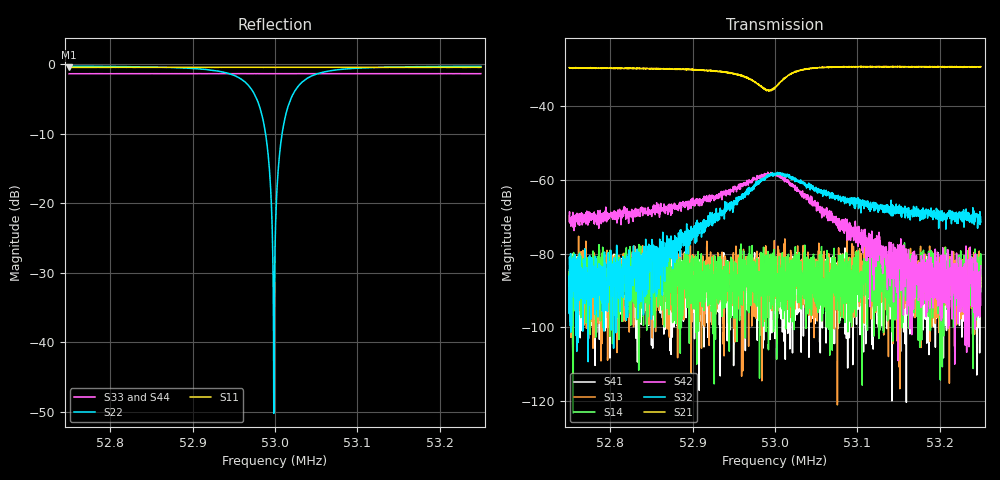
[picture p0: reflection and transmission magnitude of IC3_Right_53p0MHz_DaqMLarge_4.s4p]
#  HZ  S  DB  R  50.00
! Rohde & Schwarz Vector Network Analyzer
! Rohde-Schwarz,ZNB8-4Port,1311601044102961,2.82
! Created: UTC 2/12/2019, 2:11:07 PM
! freq[Hz]  db:S11  ang:S11  db:S12  ang:S12  db:S13  ang:S13  db:S14  ang:S14
!  db:S21  ang:S21  db:S22  ang:S22  db:S23  ang:S23  db:S24  ang:S24
!  db:S31  ang:S31  db:S32  ang:S32  db:S33  ang:S33  db:S34  ang:S34
!  db:S41  ang:S41  db:S42  ang:S42  db:S43  ang:S43  db:S44  ang:S44
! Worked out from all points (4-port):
!   2001 points, 52.75 MHz to 53.25 MHz, reference 50 ohm
!   strongest paths, dB at 52.75 MHz, 52.875 MHz, 53 MHz, 53.125 MHz, 53.25 MHz:
!     S21: -29.5, -29.8, -35.0, -29.3, -29.2
!     S32: -86.1, -81.4, -58.3, -67.4, -71.4
!     S42: -71.3, -67.4, -58.5, -78.7, -83.3
!     S14: -85.4, -91.6, -82.5, -88.0, -90.3
!     S13: -84.9, -84.4, -92.2, -83.7, -88.9
!     S41: -85.0, -81.0, -103.0, -89.5, -88.7
!   lowest |S11| = -0.5 dB at 52.75 MHz (marker M1), VSWR 34.77, Z = 1.52 + j12.1 ohm
!   |S11| at or under -10 dB: nowhere
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5.275e7  -0.50 152.8  -29.57 131.2  -84.88 -147.0  -85.38 -159.9
         -29.48 131.4  -0.33 -68.7  -96.01 163.7  -69.61 -89.5
         -102.26 -45.2  -86.10 -18.4  -1.41 62.2  -112.43 142.8
         -85.02 150.6  -71.28 -102.7  -84.25 -51.8  -1.44 68.8
5.296575e7  -0.49 148.3  -32.26 112.4  -82.30 163.2  -87.76 46.2
            -32.06 113.2  -2.83 -114.3  -64.60 29.2  -60.86 -134.0
            -94.20 -30.4  -62.56 36.3  -1.40 59.6  -90.38 136.3
            -86.58 -14.9  -60.49 -128.8  -77.79 110.3  -1.43 66.2
5.298875e7  -0.49 147.8  -35.49 124.7  -77.82 141.1  -86.92 130.1
            -35.40 125.2  -10.22 -145.0  -59.76 6.6  -58.28 -163.6
            -91.11 -36.1  -59.39 8.2  -1.40 59.3  -85.97 6.1
            -87.94 -177.1  -58.45 -160.6  -84.94 -177.6  -1.43 65.9
5.29985e7  -0.49 147.6  -35.08 143.0  -83.53 128.0  -99.32 76.6
           -35.16 143.9  -50.22 -165.2  -58.18 -13.2  -58.12 -178.7
           -86.26 -49.3  -58.30 -13.0  -1.40 59.2  -92.33 91.7
           -89.59 -167.5  -58.45 -177.5  -92.24 89.2  -1.43 65.8
5.30085e7  -0.49 147.4  -32.93 153.0  -91.30 87.2  -94.97 -0.3
           -33.06 152.6  -10.11 -3.3  -58.70 -30.1  -59.15 158.4
           -84.88 118.7  -58.34 -30.4  -1.40 59.1  -87.47 -43.9
           -93.89 -56.9  -59.33 161.0  -89.29 9.5  -1.43 65.7
5.303125e7  -0.49 146.9  -30.16 146.1  -83.73 144.2  -82.15 -14.7
            -30.18 145.9  -2.80 -34.1  -60.83 -59.8  -62.58 135.6
            -82.05 84.8  -60.23 -62.5  -1.40 58.8  -80.40 80.8
            -85.16 -168.1  -64.06 124.4  -91.89 60.3  -1.43 65.4
5.325e7  -0.48 142.4  -29.22 120.4  -88.91 115.7  -90.27 153.6
         -29.22 121.5  -0.35 -80.5  -68.89 -111.9  -96.61 -16.6
         -87.17 2.4  -71.39 -97.9  -1.40 56.2  -89.57 157.0
         -88.66 82.8  -83.26 170.1  -85.53 161.9  -1.43 62.7
